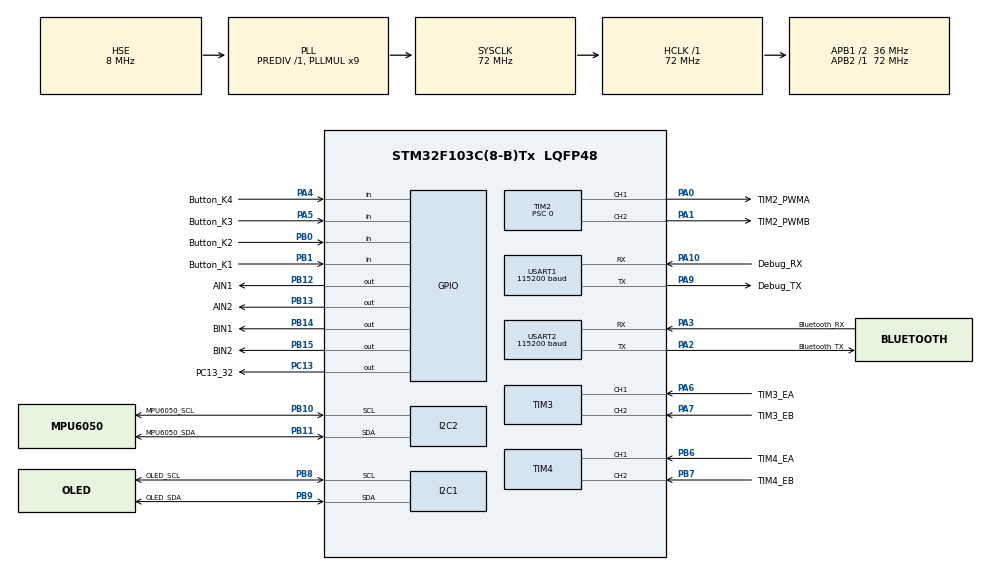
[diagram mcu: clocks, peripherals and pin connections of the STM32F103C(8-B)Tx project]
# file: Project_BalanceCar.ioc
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I2C1.I2C_Mode=I2C_Standard
I2C2.I2C_Mode=I2C_Fast
Mcu.Family=STM32F1
Mcu.Name=STM32F103C(8-B)Tx
Mcu.Package=LQFP48
NVIC.PriorityGroup=NVIC_PRIORITYGROUP_4
NVIC.TIM1_UP_IRQn=true\:1\:0\:true\:false\:true\:true\:true\:true
NVIC.USART2_IRQn=true\:1\:0\:true\:false\:true\:true\:true\:true
PA0-WKUP.GPIO_Label=TIM2_PWMA
PA0-WKUP.Signal=S_TIM2_CH1_ETR
PA1.GPIO_Label=TIM2_PWMB
PA1.Signal=S_TIM2_CH2
PA10.GPIO_Label=Debug_RX
PA10.Mode=Asynchronous
PA10.Signal=USART1_RX
PA13.Mode=Serial_Wire
PA13.Signal=SYS_JTMS-SWDIO
PA14.Mode=Serial_Wire
PA14.Signal=SYS_JTCK-SWCLK
PA2.GPIO_Label=Bluetooth_TX
PA2.Mode=Asynchronous
PA2.Signal=USART2_TX
PA3.GPIO_Label=Bluetooth_RX
PA3.Mode=Asynchronous
PA3.Signal=USART2_RX
PA4.GPIO_Label=Button_K4
PA4.GPIO_Mode=GPIO_MODE_INPUT
PA4.GPIO_PuPd=GPIO_PULLUP
PA4.Signal=GPIO_Input
PA5.GPIO_Label=Button_K3
PA5.GPIO_PuPd=GPIO_PULLUP
PA5.Signal=GPIO_Input
PA6.GPIO_Label=TIM3_EA
PA6.Signal=S_TIM3_CH1
PA7.GPIO_Label=TIM3_EB
PA7.Signal=S_TIM3_CH2
PA9.GPIO_Label=Debug_TX
PA9.Mode=Asynchronous
PA9.Signal=USART1_TX
PB0.GPIO_Label=Button_K2
PB0.GPIO_Mode=GPIO_MODE_INPUT
PB0.GPIO_PuPd=GPIO_PULLUP
PB0.Signal=GPIO_Input
PB1.GPIO_Label=Button_K1
PB1.GPIO_PuPd=GPIO_PULLUP
PB1.Signal=GPIO_Input
PB10.GPIO_Label=MPU6050_SCL
PB10.Mode=I2C
PB10.Signal=I2C2_SCL
PB11.GPIO_Label=MPU6050_SDA
PB11.Mode=I2C
PB11.Signal=I2C2_SDA
PB12.GPIO_Label=AIN1
PB12.PinState=GPIO_PIN_RESET
PB12.Signal=GPIO_Output
PB13.GPIO_Label=AIN2
PB13.Signal=GPIO_Output
PB14.GPIO_Label=BIN1
PB14.Signal=GPIO_Output
PB15.GPIO_Label=BIN2
PB15.Signal=GPIO_Output
PB6.GPIO_Label=TIM4_EA
PB6.Signal=S_TIM4_CH1
PB7.GPIO_Label=TIM4_EB
PB7.Signal=S_TIM4_CH2
PB8.GPIO_Label=OLED_SCL
PB8.Mode=I2C
PB8.Signal=I2C1_SCL
PB9.GPIO_Label=OLED_SDA
PB9.Mode=I2C
PB9.Signal=I2C1_SDA
PC13-TAMPER-RTC.GPIO_Label=PC13_32
PC13-TAMPER-RTC.Signal=GPIO_Output
PD0-OSC_IN.Mode=HSE-External-Oscillator
PD0-OSC_IN.Signal=RCC_OSC_IN
PD1-OSC_OUT.Mode=HSE-External-Oscillator
PD1-OSC_OUT.Signal=RCC_OSC_OUT
ProjectManager.HeapSize=0x200
ProjectManager.StackSize=0x400
ProjectManager.TargetToolchain=CMake
RCC.AHBFreq_Value=72000000
RCC.APB1CLKDivider=RCC_HCLK_DIV2
RCC.APB1Freq_Value=36000000
RCC.APB1TimFreq_Value=72000000
RCC.APB2Freq_Value=72000000
RCC.APB2TimFreq_Value=72000000
RCC.HCLKFreq_Value=72000000
RCC.PLLMUL=RCC_PLL_MUL9
RCC.PLLSourceVirtual=RCC_PLLSOURCE_HSE
RCC.SYSCLKFreq_VALUE=72000000
RCC.SYSCLKSource=RCC_SYSCLKSOURCE_PLLCLK
RCC.USBFreq_Value=72000000
SH.S_TIM2_CH1_ETR.0=TIM2_CH1,PWM Generation1 CH1
SH.S_TIM2_CH2.0=TIM2_CH2,PWM Generation2 CH2
SH.S_TIM3_CH1.0=TIM3_CH1,Encoder_Interface
SH.S_TIM3_CH2.0=TIM3_CH2,Encoder_Interface
SH.S_TIM4_CH1.0=TIM4_CH1,Encoder_Interface
SH.S_TIM4_CH2.0=TIM4_CH2,Encoder_Interface
TIM1.AutoReloadPreload=TIM_AUTORELOAD_PRELOAD_ENABLE
TIM1.Period=9
TIM1.Prescaler=7199
TIM2.AutoReloadPreload=TIM_AUTORELOAD_PRELOAD_ENABLE
TIM2.Channel-PWM\ Generation1\ CH1=TIM_CHANNEL_1
TIM2.Channel-PWM\ Generation2\ CH2=TIM_CHANNEL_2
TIM2.Period=3599
TIM2.Prescaler=0
TIM3.EncoderMode=TIM_ENCODERMODE_TI12
TIM4.EncoderMode=TIM_ENCODERMODE_TI12
USART1.BaudRate=115200
USART1.VirtualMode=VM_ASYNC
USART2.BaudRate=115200
USART2.VirtualMode=VM_ASYNC
VP_TIM1_VS_ClockSourceINT.Mode=Internal
board=custom

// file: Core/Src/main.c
/* USER CODE BEGIN Header */
/**
  ******************************************************************************
  * @file           : main.c
  * @brief          : Main program body
  ******************************************************************************
  * @attention
  *
  * Copyright (c) 2026 STMicroelectronics.
  * All rights reserved.
  *
  * This software is licensed under terms that can be found in the LICENSE file
  * in the root directory of this software component.
  * If no LICENSE file comes with this software, it is provided AS-IS.
  *
  ******************************************************************************
  */
/* USER CODE END Header */
#include "main.h"
#include "i2c.h"
#include "tim.h"
#include "usart.h"
#include "gpio.h"

/* USER CODE BEGIN Includes */
#include <sys/stat.h>

/*外设和系统文件*/
#include "OLED.h"
#include "MPU6050.h"
#include "Encoder.h"
#include "Motor.h"
#include "string.h"
#include "stdio.h"
#include "LED.h"
#include "TIM_Counter.h"
#include "Key.h"
#include "BlueTooth.h"
#include "Motor_Head.h"
#include "BluTooth_Head.h"
#include "PID.h"
#include "AngleLoop.h"
#include <stdlib.h>

/*测试程序*/
#include "Test_oled.h"
#include "Test_MPU6050.h"
#include "Test_Bluetooth.h"
#include "Test_Motor.h"
#include "Test_Encoder.h"

/* USER CODE END Includes */

/* USER CODE BEGIN PV */

/*TIM*/
volatile uint32_t counter;//指示TIM1的CNT的值

/*Key*/

volatile KeyControl key1 = {KEY_IDLE,0,0};//依次对应Button_K1/2/3/4
volatile KeyControl key2 = {KEY_IDLE,0,0};//检测是否按下
volatile KeyControl key3 = {KEY_IDLE,0,0};
volatile KeyControl key4 = {KEY_IDLE,0,0};

/*Motor*/
int16_t CNTL=0,CNTR=0;//电机左右两侧CNT
float SpeedL=0,SpeedR=0;//电机左右两侧速度
float PWM_Left=0,PWM_Right=0;

/*蓝牙*/
volatile uint8_t rx_data;//蓝牙开始接收的第一给而数据
char buffer[BLUETOOTH_PACKET_LENGTH];//接收的数据缓冲区
volatile uint8_t rx_flag = 0;//为1时表示收到了数据包，转入接收程序
joystick PID_joystick = {0,0,0,0};//摇杆数据

/*MPU6050*/
MPU6050_Data_t data_t;//存放7个原始数据
MPU6050_Data_f data_f;//存放加速度/角速度等
MPU6050_Euler data_euler;//存放欧拉角

/*PID*/
PID_Base_variables  PID_right= {0,0,0,0,0,0,0};//左轮PID
PID_Base_variables  PID_left= {0,0,0,0,0,0,0};//左轮PID

PID_Compute_variables PID_Compute_left = {0,0,0,0};
PID_Compute_variables PID_Compute_right = {0,0,0,0};

volatile float FB_left = 0,err_left = 0,CCR_left = 0;
volatile float FB_right = 0,err_right = 0,CCR_right = 0;
volatile joystick Car_control = {0,0,0,0};

/*anglePID*/
PID_Base_variables  PID_angle= {0,0,0,0,0,0,0};//角度环PID
PID_Compute_variables PID_Compute_angle = {0,0,0,0};
volatile float FB_angle = 0,err_angle = 0,CCR_angle = 0;//FB ERR CO的值

volatile float PWM_AVG=0,PWM_DIFF=0;//平均CCR和差分CCR
volatile uint8_t PID_angle_flag = 0;//为1时表示角度环开启

/*SpeedPID*/
PID_Base_variables  PID_speed= {0,0,0,0,0,0,0};//角度环PID
PID_Compute_variables PID_Compute_speed = {0,0,0,0};
volatile float FB_speed = 0,err_speed = 0,CCR_speed = 0;//FB ERR CO的值
volatile float FB_AVG=0,FB_DIFF=0;

/*DirectPID*/
PID_Base_variables  PID_direct= {0,0,0,0,0,0,0};//角度环PID
PID_Compute_variables PID_Compute_direct = {0,0,0,0};
volatile float FB_direct = 0,err_direct = 0,CCR_direct = 0;//FB ERR CO的值

volatile Flags flags = {0,0,0,0,0};

/* USER CODE END PV */

void SystemClock_Config(void);

int main(void)
{

  /* MCU Configuration--------------------------------------------------------*/

  /* Reset of all peripherals, Initializes the Flash interface and the Systick. */
  HAL_Init();

  /* Configure the system clock */
  SystemClock_Config();

  /* Initialize all configured peripherals */
  MX_GPIO_Init();
  MX_USART1_UART_Init();
  MX_USART2_UART_Init();
  MX_I2C1_Init();
  MX_I2C2_Init();
  MX_TIM2_Init();
  MX_TIM3_Init();
  MX_TIM4_Init();
  MX_TIM1_Init();
  /* USER CODE BEGIN 2 */

  OLED_Init();//OLED底层硬件驱动初始化 像素128*64
  /* Balance_Init checks the IMU and calibrates with both motors disabled. */
  if (Motor_Init() != HAL_OK) Error_Handler();
  Encoder_Init();
  BlueTooth_ReceiveStart();//启动

  //初始化PID的三个变量
  PID_Init(&PID_left, 0.01,0.65,0,100,-100,100);
  PID_Init(&PID_right,0.01,0.65,0,100,-100,100);
  PID_Init(&PID_speed, 0.01,0.65,0,100,-100,100);//速度环
  PID_Init(&PID_angle,1.9,0,0.03f,80,-80,15);//后续等待角度环测试后得到PID值
  PID_Init(&PID_direct, 0, 0, 0,60,-60,40);//转向环

  /* Start periodic tasks only after stationary IMU calibration. */

  //设置SP
  PID_SetSP(&PID_left,00);//SP这里为转速，上限为14.58*60 = 850
  PID_SetSP(&PID_right,00);
  PID_SetSP(&PID_speed,00);

  PID_SetSP(&PID_angle,00);
  PID_SetSP(&PID_direct,00);

  Balance_Init();
  TIM1_Init();
  /* USER CODE END 2 */

  /* Infinite loop */
  /* USER CODE BEGIN WHILE */
  while (1)
  {//TIM1  1ms中断依次

    /*时间片*/

  //   uint32_t now = HAL_GetTick(); //获取系统的执行时间 单位为毫秒
  //   static uint32_t tick1 = 0;//4个任务
  //   static uint32_t tick2 = 0;
  //   static uint32_t tick3 = 0;
  //   static uint32_t tick4 = 0;
  //
  //    // if (now - tick1 >= 10) {//蓝牙接收数据
  //    //   tick1 = now;
  //    //
  //    // }
  //    if (now - tick3 >= 10) {
  //      //10ms执行一次
  //      tick3 = now;
  //
  //      /*状态机开启角度环*/
  //      if (key1.press_event == 1) {//按键1按下，开启角度环
  //        key1.press_event = 0;
  //        static uint8_t i = 0;
  //        i++;
  //
  //        if (i % 2 == 1) {//奇数次按下
  //          PID_angle_flag = 1;
  //        }else {
  //          PID_angle_flag = 0;
  //        }
  //      }
  //      if (GetPitchAngle(&data_euler) >50 || GetPitchAngle(&data_euler) <-50) {//范围是-90到90度
  //        PID_angle_flag = 0;
  //      }
  //      switch (PID_angle_flag) {
  //        case 1://按下之后，角度环开启 留
  //        {
  //          PID_angle.SP = 1.2;
  //          LED_ON();
  //          break;
  //        }
  //        case 0:
  //        {
  //          LED_OFF();
  //
  //          PID_Compute_angle.err_dev_k_1 = 0;
  //          PID_Compute_angle.err_int_k_1 = 0;
  //          PID_Compute_angle.err_k_1=0;
  //          PID_Compute_angle.t_k_1=0;
  //          PID_speed.SP = 0;
  //          break;
  //        }
  //      }
  // //后续三个按键先不操作
  //
  //    }
  //
  //   if (now - tick4 >= 10) {
  //     //10ms执行一次设定的速度和当前速度
  //     tick4 = now;
  //     BlueTooth_Receive();//对接受到的数据包进行处理
  //     //OLED_Clear();
  //     //显示PID三个参数
  //     OLED_Printf(0, 0, OLED_6X8, "Kp:%.3f",  PID_angle.Kp); //左轮的rpm
  //     OLED_Printf(0, 16, OLED_6X8, "Ki:%.3f", PID_angle.Ki); //右轮的rpm
  //     OLED_Printf(64, 16, OLED_6X8, "Kd:%.3f", PID_angle.Kd); //右轮的rpm
  //
  //     // OLED_Printf(64, 0, OLED_6X8, "Kp:%.1f",  PID_right.Kp); //左轮的rpm
  //     // OLED_Printf(64, 16, OLED_6X8, "Ki:%.1f", PID_right.Ki); //右轮的rpm
  //     // OLED_Printf(64, 32, OLED_6X8, "Kd:%.1f", PID_right.Kd); //右轮的rpm
  //     //俯仰角
  //
  //     OLED_Printf(0, 32, OLED_6X8, "angle:%.2f", FB_angle);
  //     OLED_Update();
  //
  //   }

    /*MPU6050测试*/
    // MPU6050_Update(&data_t);
    // MPU6050_Calculate(&data_t,&data_f);
    // //MPU6050_GetEuler_a(&data_f, &data_euler);
    // MPU6050_GetEulerComplementary(&data_f,&data_euler);
    // //snprintf(str,sizeof(str),"%.4f\r\n",data_f.GyroY);//零漂校准
    // snprintf(str,sizeof(str),"%.4f\r\n",GetPitchAngle(&data_euler));//零漂校准
    // HAL_UART_Transmit(&huart1,str,strlen(str),100);//pitch平放是为0度

/*速度环测试PID,目前计算得到的是占空比PWM*/
//速度环设定SP的范围为[-800,800],对应到摇杆上-100,100
    //该测试在it中开启速度环
    // static int16_t SP_left,SP_right;//上限设置为800
    // if (key1.press_event == 1) {//表示key1被按下，正转100
    //   key1.press_event =0;
    //   SP_left+=100;
    //   if (SP_left >= 800) SP_left = 800;
    //   PID_SetSP(&PID_left,-SP_left);
    //   //__HAL_TIM_SET_COMPARE(&htim2, TIM_CHANNEL_1,3599);
    // }else if (key2.press_event == 1) {
    //   key2.press_event =0;
    //   SP_left-=100;
    //   if (SP_left < -800) SP_left = -800;
    //   PID_SetSP(&PID_left,-SP_left);
    // }else if (key3.press_event == 1) {
    //   key3.press_event =0;
    //   SP_right+=100;
    //   if (SP_right >= 800) SP_right = 800;
    //   PID_SetSP(&PID_right,SP_right);
    //
    // }else if (key4.press_event == 1) {
    //   key4.press_event =0;
    //   SP_right-=100;
    //   if (SP_right <= -800) SP_right = -800;
    //   PID_SetSP(&PID_right,SP_right);
    // }
    //
    //
    //
    // //显示PID是如何设置CCR的
    // OLED_Printf(0, 32,OLED_6X8, "SPL:%4d", SP_left); //左轮的SP
    // OLED_Printf(0, 48,OLED_6X8, "SPR:%4d", SP_right); //右轮的SP
    //
    // /*电机速度显示*/
    // SpeedL =Encoder_GetSpeed(Motor_left);
    // // if (SpeedL ==0) SpeedL =0;
    // SpeedR =Encoder_GetSpeed(Motor_right);
    // char str1[48];
    // snprintf(str1,30,"SL:%7.2f\r\n",SpeedL);
    //
    // HAL_UART_Transmit(&huart1,(uint8_t*)str1,strlen(str1),100);
    // OLED_Printf(0, 48,OLED_6X8, "L:%6.1f", SpeedL); //左轮的rpm
    // OLED_Printf(64, 48,OLED_6X8, "R:%6.1f", SpeedR); //右轮的rpm
    // OLED_Update();

 //电机死区判断
     // static int16_t SP_left,SP_right;//上限设置为800
     // if (key1.press_event == 1) {//表示key1被按下，正转100
     //   key1.press_event =0;
     //   SP_left+=1;//1-100
     //   if (SP_left >= 100) SP_left = 100;
     //   Motor_SetPWM(Motor_left,-SP_left);
     //
     // }else if (key2.press_event == 1) {
     //   key2.press_event =0;
     //   SP_left-=1;//1-100
     //   if (SP_left <= -100) SP_left = -100;
     //   Motor_SetPWM(Motor_left,-SP_left);
     // }else if (key3.press_event == 1) {
     //   key3.press_event =0;
     //   SP_right+=1;//1-100
     //   if (SP_right >= 100) SP_right = 100;
     //   Motor_SetPWM(Motor_right,SP_right);
     //
     // }else if (key4.press_event == 1) {
     //   key4.press_event =0;
     //   SP_right-=1;//1-100
     //   if (SP_right <= -100) SP_right = -100;
     //   Motor_SetPWM(Motor_right,SP_right);
     // }
     // SpeedL =Encoder_GetSpeed(Motor_left);
     // // if (SpeedL ==0) SpeedL =0;
     // SpeedR =Encoder_GetSpeed(Motor_right);
     // OLED_Printf(0, 0,OLED_6X8, "SPL:%4d", SP_left); //左轮的SP
     // OLED_Printf(0, 16,OLED_6X8, "SPR:%4d", SP_right); //右轮的SP
     // OLED_Printf(0, 32,OLED_6X8, "L:%6.1f", SpeedL); //左轮的rpm
     // OLED_Printf(0, 48,OLED_6X8, "R:%6.1f", SpeedR); //右轮的rpm
     // OLED_Update();

/*按键测试,直接电平测试*/
    //
    // OLED_Printf(0, 0,OLED_8X16, "K1:%d",  key1.press_event); //左轮的SP
    // OLED_Printf(0, 16,OLED_8X16, "K2:%d", key2.press_event); //右轮的SP
    // OLED_Printf(0, 32,OLED_8X16, "K3:%d", key3.press_event ); //左轮的rpm
    // OLED_Printf(0, 48,OLED_8X16, "K4:%d", key4.press_event); //右轮的rpm
    // OLED_Update();

/*摇杆测试速度和转向控制*/
    //显示摇杆的移动参数OLED_6X8
    // OLED_Printf(64, 0, OLED_6X8,  "LX:%4d",  PID_joystick.LeftX); //左轮的rpm
    // OLED_Printf(64, 16,OLED_6X8, "LY:%4d", PID_joystick.LeftY); //右轮的rpm
    // OLED_Printf(64, 32,OLED_6X8, "RX:%4d", PID_joystick.RightX); //右轮的rpm
    // OLED_Printf(64, 48,OLED_6X8, "RY:%4d", PID_joystick.RightY); //右轮的rpm

/*不需要时间片，直接调度*/
//角度环，读取速度，蓝牙数据包，OLED显示

    /* Consume the ISR flag atomically. All I2C calls remain in main context. */
    uint32_t saved_irq = __get_PRIMASK();
    __disable_irq();
    uint8_t run_angle = flags.flag_angle;
    flags.flag_angle = 0;
    __set_PRIMASK(saved_irq);
    if (run_angle) Balance_Update();

    if (flags.flag_speed) {
      flags.flag_speed = 0;
      CNTL = -Encoder_GetCounter(Motor_left);
      CNTR = Encoder_GetCounter(Motor_right);
    }
    if (flags.flag_bluetooth) {
      flags.flag_bluetooth = 0;
      BlueTooth_Receive();
    }
    if (flags.flag_key) {
      flags.flag_key = 0;
      Key_FSMUpdate(&key1, GPIOB, Button_K1_Pin);
      Key_FSMUpdate(&key2, GPIOB, Button_K2_Pin);
      Key_FSMUpdate(&key3, GPIOA, Button_K3_Pin);
      Key_FSMUpdate(&key4, GPIOA, Button_K4_Pin);
      if (key1.press_event == 1) {
        key1.press_event = 0;
        Balance_Toggle();
      }
      if (PID_angle_flag) LED_ON(); else LED_OFF();
    }
    if (flags.flag_oled) {
      flags.flag_oled = 0;
      /* Whole-screen bit-banged I2C is forbidden while balancing.
         Inspect balance_diag with VS Code Live Watch without halting the CPU. */
      if (!PID_angle_flag) {
        OLED_Printf(0, 0, OLED_6X8, "P:%.2f I:%.2f  ", PID_angle.Kp, PID_angle.Ki);
        OLED_Printf(0, 16, OLED_6X8, "D:%.3f A:%+.1f  ", PID_angle.Kd, FB_angle);
        OLED_Printf(0, 32, OLED_6X8, "F:%u dt:%.1f  ",
                    (unsigned)balance_diag.fault, balance_diag.dt_ms);
        OLED_Printf(0, 48, OLED_6X8, "I2C:%lu T:%lu ",
                    (unsigned long)balance_diag.i2c_errors,
                    (unsigned long)balance_diag.timing_errors);
        OLED_Update();
      }
    }

    /* USER CODE END WHILE */

  }
}

void SystemClock_Config(void)
{
  RCC_OscInitTypeDef RCC_OscInitStruct = {0};
  RCC_ClkInitTypeDef RCC_ClkInitStruct = {0};

  /** Initializes the RCC Oscillators according to the specified parameters
  * in the RCC_OscInitTypeDef structure.
  */
  RCC_OscInitStruct.OscillatorType = RCC_OSCILLATORTYPE_HSE;
  RCC_OscInitStruct.HSEState = RCC_HSE_ON;
  RCC_OscInitStruct.HSEPredivValue = RCC_HSE_PREDIV_DIV1;
  RCC_OscInitStruct.HSIState = RCC_HSI_ON;
  RCC_OscInitStruct.PLL.PLLState = RCC_PLL_ON;
  RCC_OscInitStruct.PLL.PLLSource = RCC_PLLSOURCE_HSE;
  RCC_OscInitStruct.PLL.PLLMUL = RCC_PLL_MUL9;
  if (HAL_RCC_OscConfig(&RCC_OscInitStruct) != HAL_OK)
  {
    Error_Handler();
  }

  /** Initializes the CPU, AHB and APB buses clocks
  */
  RCC_ClkInitStruct.ClockType = RCC_CLOCKTYPE_HCLK|RCC_CLOCKTYPE_SYSCLK
                              |RCC_CLOCKTYPE_PCLK1|RCC_CLOCKTYPE_PCLK2;
  RCC_ClkInitStruct.SYSCLKSource = RCC_SYSCLKSOURCE_PLLCLK;
  RCC_ClkInitStruct.AHBCLKDivider = RCC_SYSCLK_DIV1;
  RCC_ClkInitStruct.APB1CLKDivider = RCC_HCLK_DIV2;
  RCC_ClkInitStruct.APB2CLKDivider = RCC_HCLK_DIV1;

  if (HAL_RCC_ClockConfig(&RCC_ClkInitStruct, FLASH_LATENCY_2) != HAL_OK)
  {
    Error_Handler();
  }
}

void Error_Handler(void)
{
  /* USER CODE BEGIN Error_Handler_Debug */
  /* User can add his own implementation to report the HAL error return state */
  Motor_EmergencyStop();
  __disable_irq();
  while (1)
  {
  }
  /* USER CODE END Error_Handler_Debug */
}
